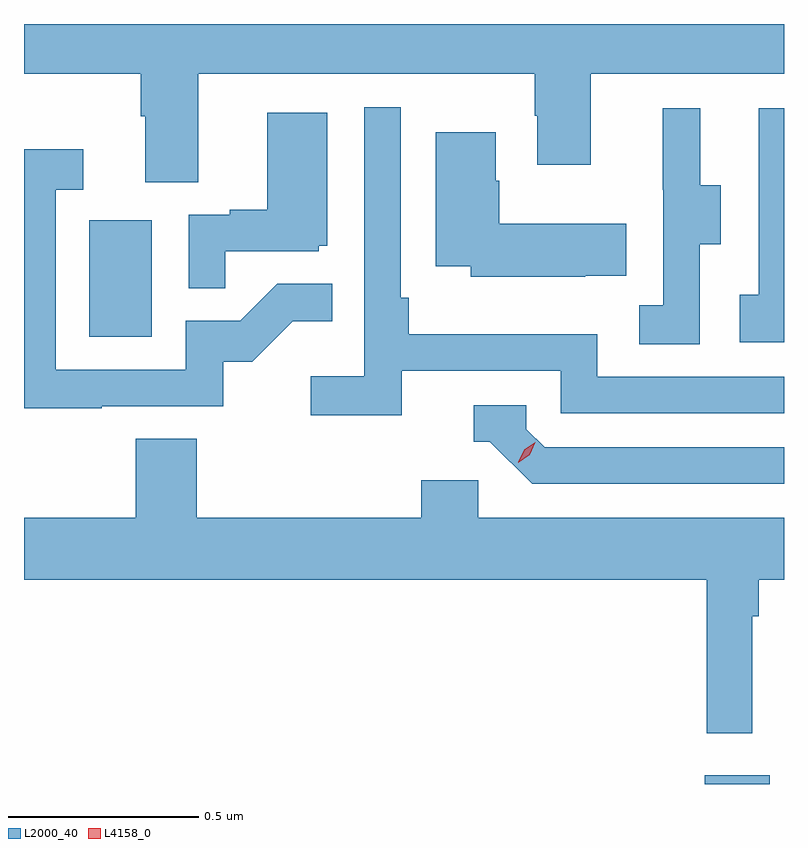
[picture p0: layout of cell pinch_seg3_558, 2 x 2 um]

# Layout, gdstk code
import gdstk
lib = gdstk.Library(unit=1e-6, precision=1e-09)
def R(c, l, rs):  # rectangles x0, y0, x1, y1
    for r in rs: c.add(gdstk.rectangle(r[:2], r[2:], *l))
def P(c, l, *ps):  # polygons
    for p in ps: c.add(gdstk.Polygon(p, *l))
L2000_40 = (2000, 40)
L4158_0 = (4158, 0)

pinch_seg3_558 = lib.new_cell('pinch_seg3_558')
R(pinch_seg3_558, L2000_40, [(1126.202,692.387,1126.372,692.41), (1124.582,693.564,1124.746,693.871)])
P(pinch_seg3_558, L2000_40, [(1124.869,694.256),(1125.754,694.256),(1125.754,694.145),(1125.761,694.145),(1125.761,694.017),(1125.901,694.017),(1125.901,694.256),(1126.41,694.256),(1126.41,694.387),(1124.41,694.387),(1124.41,694.256),(1124.717,694.256),(1124.717,694.144),(1124.729,694.144),(1124.729,693.97),(1124.869,693.97)],
  [(1125.404,693.474),(1125.822,693.474),(1125.822,693.363),(1126.41,693.363),(1126.41,693.459),(1125.918,693.459),(1125.918,693.571),(1125.422,693.571),(1125.422,693.667),(1125.402,693.667),(1125.402,694.168),(1125.306,694.168),(1125.306,693.46),(1125.165,693.46),(1125.165,693.358),(1125.404,693.358)],
  [(1126.188,693.808),(1126.243,693.808),(1126.243,693.963),(1126.189,693.963),(1126.189,694.165),(1126.091,694.165),(1126.091,693.951),(1126.092,693.951),(1126.092,693.647),(1126.029,693.647),(1126.029,693.544),(1126.188,693.544)],
  [(1126.41,694.165),(1126.344,694.165),(1126.344,693.674),(1126.293,693.674),(1126.293,693.549),(1126.41,693.549)],
  [(1124.939,693.789),(1125.186,693.789),(1125.186,693.804),(1125.208,693.804),(1125.208,694.153),(1125.05,694.153),(1125.05,693.898),(1124.951,693.898),(1124.951,693.885),(1124.844,693.885),(1124.844,693.691),(1124.939,693.691)],
  [(1125.887,693.725),(1125.995,693.725),(1125.995,693.862),(1125.66,693.862),(1125.66,693.974),(1125.652,693.974),(1125.652,694.102),(1125.494,694.102),(1125.494,693.749),(1125.585,693.749),(1125.585,693.722),(1125.887,693.722)],
  [(1124.615,693.381),(1124.934,693.381),(1124.934,693.498),(1125.01,693.498),(1125.117,693.605),(1125.221,693.605),(1125.221,693.704),(1125.077,693.704),(1124.979,693.606),(1124.835,693.606),(1124.835,693.477),(1124.493,693.477),(1124.493,693.951),(1124.566,693.951),(1124.566,694.057),(1124.41,694.057),(1124.41,693.376),(1124.615,693.376)],
  [(1126.41,693.273),(1125.78,693.273),(1125.732,693.321),(1125.732,693.384),(1125.593,693.384),(1125.593,693.288),(1125.636,693.288),(1125.747,693.177),(1126.41,693.177)],
  [(1126.326,692.828),(1126.343,692.828),(1126.343,692.924),(1126.41,692.924),(1126.41,693.088),(1125.606,693.088),(1125.606,693.186),(1125.455,693.186),(1125.455,693.088),(1124.864,693.088),(1124.864,693.296),(1124.704,693.296),(1124.704,693.088),(1124.41,693.088),(1124.41,692.924),(1126.207,692.924),(1126.207,692.52),(1126.326,692.52)])
P(pinch_seg3_558, L4158_0, [(1125.711,693.233),(1125.711,693.234),(1125.726,693.266),(1125.756,693.287),(1125.756,693.287),(1125.756,693.286),(1125.741,693.253),(1125.711,693.233)])

lib.write_gds('pinch_seg3_558.gds')
